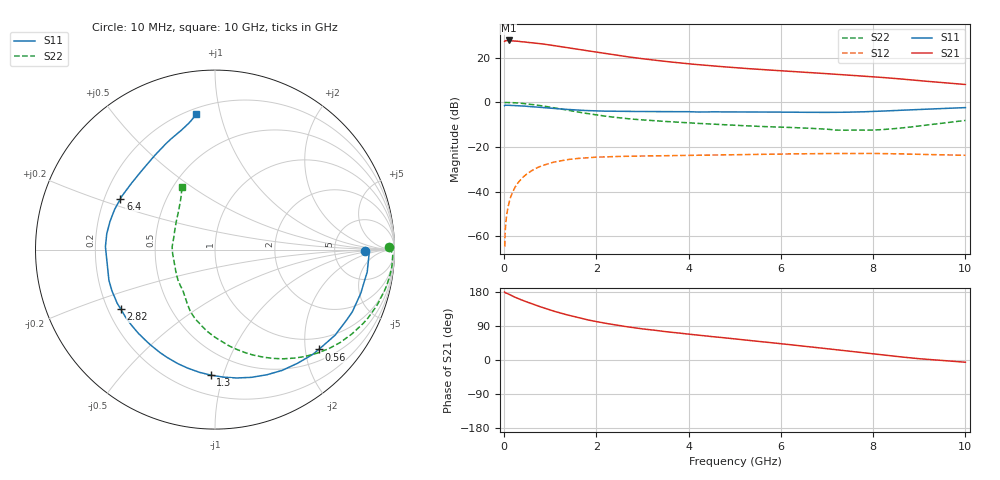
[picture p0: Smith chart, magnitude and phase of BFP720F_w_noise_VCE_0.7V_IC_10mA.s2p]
! Infineon Technologies  Discrete & RF Semiconductors
! BFP720F
! VCE =  0.7 V,  IC =  10 mA
! Common Emitter S-Parameters:  Jan 2016
# GHz  S  MA  R  50
!  f  S11  S21  S12  S22
! GHz  MAG  ANG  MAG  ANG  MAG  ANG  MAG  ANG
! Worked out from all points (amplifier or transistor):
!   233 points, 10 MHz to 10 GHz, reference 50 ohm
!   highest |S21| = 27.7 dB at 100 MHz (marker M1)
!   |S21| within 3 dB of that: start of sweep to 1.318 GHz
!   unconditionally stable (mu >= 1): start of sweep to 13.04 MHz; 6.94 GHz to end of sweep
!   at 200 MHz: K = 0.06, MSG = 33.5 dB, |S12| = -39.6 dB
!   at 1.74 GHz: K = 0.32, MSG = 24.1 dB, |S12| = -24.9 dB
!   at 10 GHz: K = 1.33, MAG = 12.4 dB, |S12| = -23.7 dB
!   lowest NFmin = 0.55 dB at 450 MHz
!   S11 on the Smith chart (normalised r, x): 10 MHz: 11, -1; 560 MHz: 0.73, -2.28; 1.3 GHz: 0.33, -0.91; 2.82 GHz: 0.25, -0.27; 6.4 GHz: 0.27, +0.24; 10 GHz: 0.24, +0.84
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0.01  0.8379 -0.6  23.15 179.5  0.0006 -20.0  0.9715 0.7
0.02  0.859 -1.6  23.86 177.7  0.0012 91.7  0.991 -1.5
0.05  0.8567 -4.4  24.1 176.7  0.0027 88.0  0.99 -2.6
0.1  0.8572 -8.4  24.24 173.5  0.0053 85.0  0.99 -5.4
0.26  0.8414 -21.3  23.39 164.3  0.0137 78.5  0.9704 -14.1
0.44  0.8222 -34.8  22.5 155.6  0.0224 71.0  0.9357 -23.5
0.56  0.8022 -43.9  21.74 150.2  0.0278 66.1  0.9054 -29.6
0.78  0.7716 -59.5  20.56 140.6  0.0365 57.8  0.8459 -40.1
0.9  0.755 -67.4  19.83 135.8  0.0406 53.8  0.8096 -45.5
1.1  0.7255 -80.4  18.45 128.1  0.0463 47.3  0.7474 -54.0
1.3  0.6998 -91.9  17.27 121.2  0.0507 41.6  0.6872 -61.9
1.68  0.6606 -111.9  15 109.5  0.0563 32.8  0.5865 -75.2
1.92  0.6437 -122.0  13.69 103.2  0.0585 28.4  0.5359 -82.5
2.2  0.6332 -131.9  12.34 96.8  0.0603 24.0  0.4884 -90.0
2.82  0.6209 -147.6  9.974 85.1  0.0621 17.2  0.4163 -102.6
3.4  0.6183 -156.9  8.445 76.4  0.0633 13.1  0.3782 -110.2
4  0.6154 -163.8  7.269 68.1  0.0644 9.7  0.3457 -115.9
5.1  0.6081 170.4  5.861 54.4  0.067 4.8  0.3024 -124.8
6.4  0.5981 151.7  4.787 37.8  0.0702 -1.3  0.2684 -139.5
6.8  0.5942 144.9  4.503 32.5  0.0708 -3.4  0.2554 -146.8
8.4  0.6497 115.0  3.464 10.8  0.0705 -12.3  0.2537 151.0
10  0.7603 97.9  2.503 -5.9  0.065 -16.9  0.3922 117.9
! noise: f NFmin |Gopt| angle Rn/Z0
0.45  0.55  0.3  3  0.33
0.9  0.58  0.27  8  0.12
1.8  0.62  0.25  13  0.15
2.4  0.65  0.22  23  0.14
5.5  0.8  0.2  43  0.09
10  1  0.28  -91  0.17
